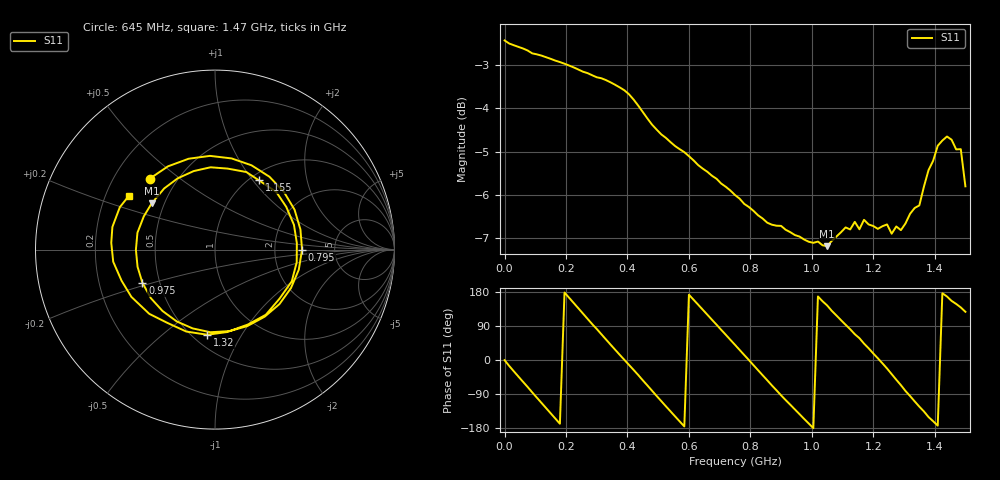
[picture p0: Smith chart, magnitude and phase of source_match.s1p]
! Created with skrf 1.8.0 (http://scikit-rf.org).
# Hz S RI R 50.0
!freq ReS11 ImS11
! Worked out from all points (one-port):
!   101 points, 50 kHz to 1.5 GHz, reference 50 ohm
!   lowest |S11| = -7.2 dB at 1.05 GHz (marker M1), VSWR 2.55, Z = 21.3 + j13.5 ohm
!   |S11| at or under -10 dB: nowhere
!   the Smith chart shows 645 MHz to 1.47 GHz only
!   S11 on the Smith chart (normalised r, x): 645 MHz: 0.35, +0.39; 795 MHz: 2.88, -0.00; 975 MHz: 0.40, -0.18; 1.155 GHz: 1.10, +1.07; 1.32 GHz: 0.59, -0.72; 1.47 GHz: 0.30, +0.26
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50000  0.7566 -0.00549
4.50485e7  0.5372 -0.5144
9.0047e7  0.0573 -0.7287
1.50045e8  -0.5573 -0.4565
1.950435e8  -0.7106 0.0248
2.40042e8  -0.5082 0.4815
2.850405e8  -0.0574 0.6871
3.30039e8  0.3979 0.5522
3.750375e8  0.6489 0.1561
4.20036e8  0.5798 -0.285
4.80034e8  0.0934 -0.597
5.250325e8  -0.31 -0.4941
5.70031e8  -0.5387 -0.1734
6.450285e8  -0.3649 0.3944
6.90027e8  -0.0281 0.5222
7.50025e8  0.3835 0.322
7.950235e8  0.485 -0.000229
8.70021e8  0.1802 -0.426
9.450185e8  -0.2922 -0.3421
9.750175e8  -0.4044 -0.1848
1.050015e9  -0.3533 0.2569
1.125012e9  0.0702 0.4513
1.155012e9  0.2448 0.3859
1.230009e9  0.4553 -0.0705
1.320006e9  -0.0429 -0.4744
1.410003e9  -0.5672 -0.0675
1.470001e9  -0.4794 0.3001
1.5e9  -0.3101 0.408
